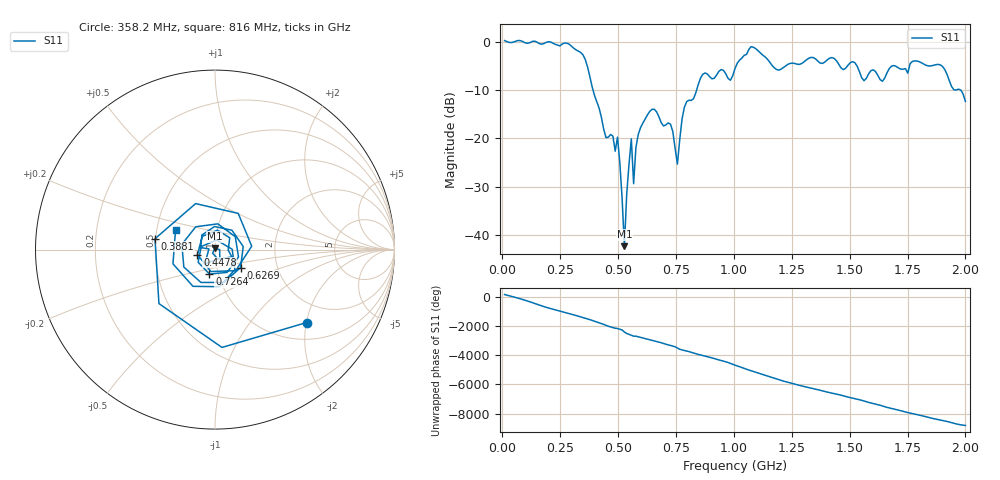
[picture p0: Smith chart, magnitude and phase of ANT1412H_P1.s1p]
!Created with skrf (http://scikit-rf.org).
# Hz S RI R 50.0
!freq ReS11 ImS11
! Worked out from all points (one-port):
!   201 points, 10 MHz to 2 GHz, reference 50 ohm
!   lowest |S11| = -42.3 dB at 527.4 MHz (marker M1), VSWR 1.02, Z = 49.9 + j0.763 ohm
!   |S11| at or under -10 dB: 391.6 MHz to 839.4 MHz (447.8 MHz wide, 72.7 % of centre); 1.955427 GHz to 1.961198 GHz (5.771 MHz wide, 0.295 % of centre); 1.979 GHz to end of sweep
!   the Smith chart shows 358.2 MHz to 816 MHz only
!   S11 on the Smith chart (normalised r, x): 358.2 MHz: 1.42, -2.01; 388.1 MHz: 0.50, +0.07; 447.8 MHz: 0.82, -0.05; 626.9 MHz: 1.30, -0.27; 726.4 MHz: 0.91, -0.25; 816 MHz: 0.63, +0.15
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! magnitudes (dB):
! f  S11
! 10 MHz  0.2
! 258.8 MHz  -0.5
! 358.2 MHz  -3.7
! 388.1 MHz  -9.4
! 447.8 MHz  -19.9
! 487.6 MHz  -22.7
! 497.6 MHz  -19.8
! 507.5 MHz  -25.0
! 527.4 MHz  -42.3
! 537.4 MHz  -31.6
! 557.2 MHz  -20.1
! 567.2 MHz  -29.4
! 587.1 MHz  -19.2
! 626.9 MHz  -15.2
! 726.4 MHz  -17.1
! 756.2 MHz  -25.4
! 786.1 MHz  -13.6
! 816 MHz  -12.2
! 865.7 MHz  -6.8
! 1.005 GHz  -5.6
! 1.075 GHz  -1.1
! 1.184 GHz  -5.8
! 1.254 GHz  -4.5
! 1.502 GHz  -4.4
! 1.562 GHz  -8.1
! 1.751 GHz  -6.5
! 1.891 GHz  -4.8
! 2 GHz  -12.4
